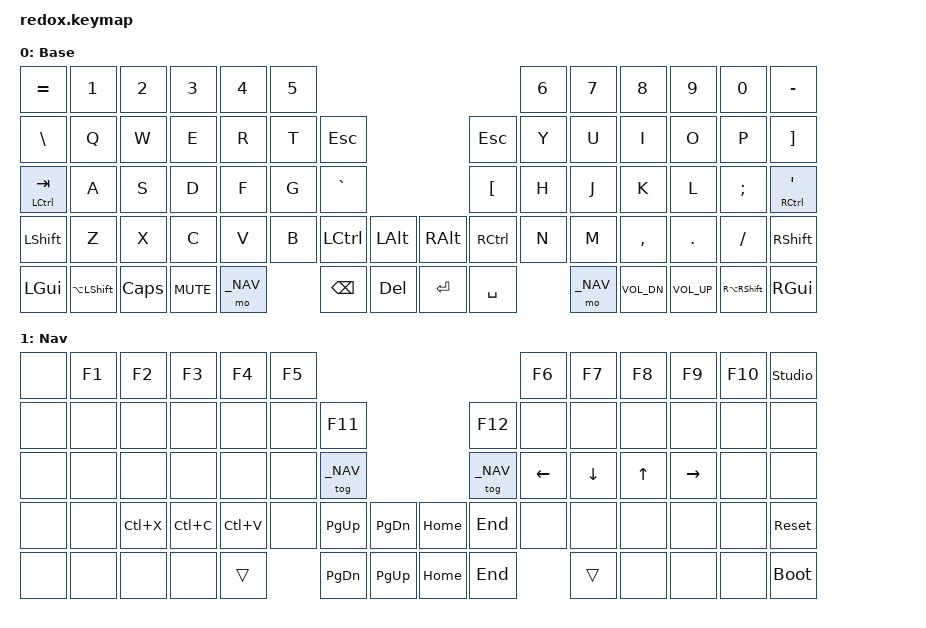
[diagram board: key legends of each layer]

#include <behaviors.dtsi>
#include <dt-bindings/zmk/keys.h>

#define _BASE 0
#define _NAV  1

/ {
    behaviors {
        // ctrl_tab: hold = LCTRL, tap = TAB  (left thumb-side home row mod)

        ctrl_tab: ctrl_tab {
            compatible = "zmk,behavior-hold-tap";
            #binding-cells = <2>;
            tapping-term-ms = <200>;
            quick-tap-ms = <125>;
            flavor = "tap-preferred";
            bindings = <&kp>, <&kp>;
        };
    };

    keymap {
        compatible = "zmk,keymap";

        base_layer {
            display-name = "Base";
            bindings = <
&kp EQUAL            &kp N1         &kp N2    &kp N3      &kp N4    &kp N5                                                   &kp N6  &kp N7    &kp N8        &kp N9        &kp N0         &kp MINUS
&kp BSLH             &kp Q          &kp W     &kp E       &kp R     &kp T   &kp ESC                               &kp ESC    &kp Y   &kp U     &kp I         &kp O         &kp P          &kp RBKT
&ctrl_tab LCTRL TAB  &kp A          &kp S     &kp D       &kp F     &kp G   &kp GRAVE                             &kp LBKT   &kp H   &kp J     &kp K         &kp L         &kp SEMI       &ctrl_tab RCTRL SQT
&kp LSHFT            &kp Z          &kp X     &kp C       &kp V     &kp B   &kp LCTRL  &kp LALT    &kp RIGHT_ALT  &kp RCTRL  &kp N   &kp M     &kp COMMA     &kp DOT       &kp FSLH       &kp RSHFT
&kp LGUI             &kp LA(LSHFT)  &kp CAPS  &kp C_MUTE  &mo _NAV          &kp BSPC   &kp DEL     &kp RET        &kp SPACE          &mo _NAV  &kp C_VOL_DN  &kp C_VOL_UP  &kp RA(RSHFT)  &kp RGUI
            >;

            label = "Base";
        };

        nav_layer {
            display-name = "Nav";
            bindings = <
&none  &kp F1  &kp F2     &kp F3     &kp F4     &kp F5                                                     &kp F6    &kp F7    &kp F8  &kp F9     &kp F10  &studio_unlock
&none  &none   &none      &none      &none      &none   &kp F11                                 &kp F12    &none     &none     &none   &none      &none    &none
&none  &none   &none      &none      &none      &none   &tog _NAV                               &tog _NAV  &kp LEFT  &kp DOWN  &kp UP  &kp RIGHT  &none    &none
&none  &none   &kp LC(X)  &kp LC(C)  &kp LC(V)  &none   &kp PG_UP      &kp PG_DN      &kp HOME  &kp END    &none     &none     &none   &none      &none    &sys_reset
&none  &none   &none      &none      &trans             &kp PAGE_DOWN  &kp PAGE_UP    &kp HOME  &kp END              &trans    &none   &none      &none    &bootloader
            >;

            label = "Navigation";
        };
    };
};

